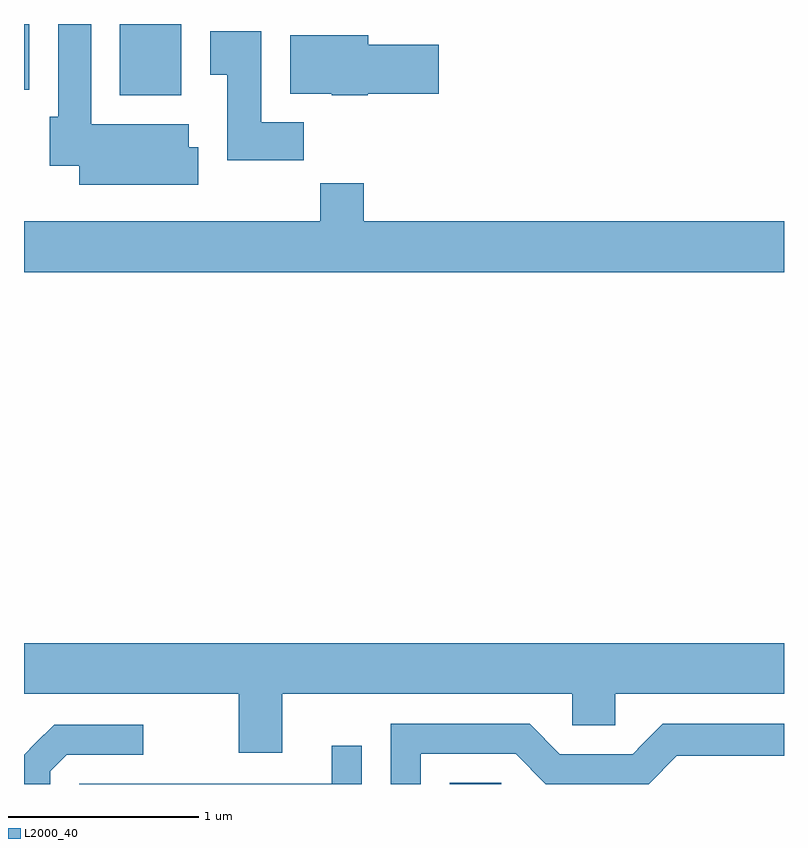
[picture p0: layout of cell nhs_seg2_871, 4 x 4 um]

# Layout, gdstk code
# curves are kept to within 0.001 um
import gdstk
lib = gdstk.Library(unit=1e-6, precision=1e-09)
def R(c, l, rs):  # rectangles x0, y0, x1, y1
    for r in rs: c.add(gdstk.rectangle(r[:2], r[2:], *l))
def P(c, l, *ps):  # polygons
    for p in ps: c.add(gdstk.Polygon(p, *l))
L2000_40 = (2000, 40)

nhs_seg2_871 = lib.new_cell('nhs_seg2_871')
R(nhs_seg2_871, L2000_40, [(211.851,1087.802,212.123,1087.809), (210.116,1091.426,210.439,1091.802), (209.611,1091.456,209.639,1091.802)])
P(nhs_seg2_871, L2000_40, [(210.529,1091.154),(210.479,1091.154),(210.479,1091.274),(209.964,1091.274),(209.964,1091.802),(209.791,1091.802),(209.791,1091.314),(209.746,1091.314),(209.746,1091.056),(209.901,1091.056),(209.901,1090.956),(210.529,1090.956)],
  [(211.084,1091.284),(210.859,1091.284),(210.859,1091.764),(210.591,1091.764),(210.591,1091.536),(210.681,1091.536),(210.681,1091.086),(211.084,1091.086)],
  [(211.42,1091.436),(211.794,1091.436),(211.794,1091.694),(211.424,1091.694),(211.424,1091.744),(211.011,1091.744),(211.011,1091.436),(211.23,1091.436),(211.23,1091.426),(211.42,1091.426)],
  [(213.611,1090.764),(211.399,1090.764),(211.399,1090.964),(211.171,1090.964),(211.171,1090.764),(209.611,1090.764),(209.611,1090.496),(213.611,1090.496)],
  [(210.969,1088.276),(212.496,1088.276),(212.496,1088.111),(212.724,1088.111),(212.724,1088.276),(213.611,1088.276),(213.611,1088.544),(209.611,1088.544),(209.611,1088.276),(210.741,1088.276),(210.741,1087.966),(210.969,1087.966)],
  [(211.699,1087.961),(212.199,1087.961),(212.358,1087.802),(212.898,1087.802),(213.047,1087.951),(213.611,1087.951),(213.611,1088.119),(212.974,1088.119),(212.814,1087.959),(212.432,1087.959),(212.272,1088.119),(211.541,1088.119),(211.541,1087.802),(211.699,1087.802)],
  [(209.749,1087.869),(209.837,1087.956),(210.238,1087.956),(210.238,1088.114),(209.769,1088.114),(209.667,1088.013),(209.611,1087.957),(209.611,1087.802),(209.749,1087.802)],
  [(211.389,1088.003),(211.231,1088.003),(211.231,1087.804),(209.901,1087.804),(209.901,1087.802),(211.389,1087.802)])

lib.write_gds('nhs_seg2_871.gds')
